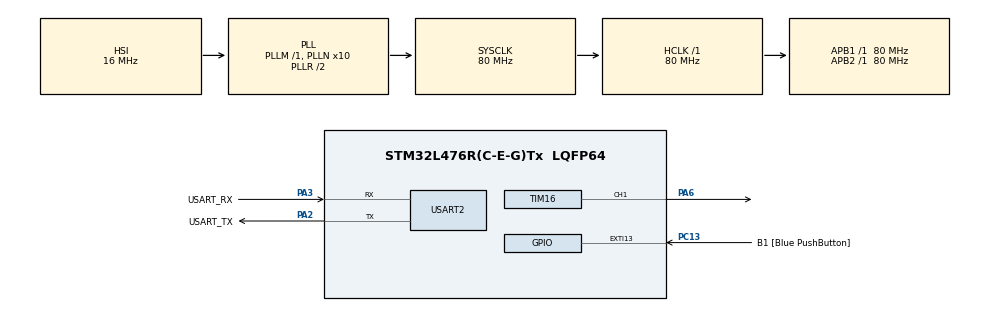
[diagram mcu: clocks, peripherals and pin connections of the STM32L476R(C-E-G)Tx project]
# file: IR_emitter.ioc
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Mcu.Family=STM32L4
Mcu.Name=STM32L476R(C-E-G)Tx
Mcu.Package=LQFP64
NVIC.PriorityGroup=NVIC_PRIORITYGROUP_4
PA13\ (JTMS-SWDIO).GPIO_Label=TMS
PA13\ (JTMS-SWDIO).Mode=Serial_Wire
PA13\ (JTMS-SWDIO).Signal=SYS_JTMS-SWDIO
PA14\ (JTCK-SWCLK).GPIO_Label=TCK
PA14\ (JTCK-SWCLK).Mode=Serial_Wire
PA14\ (JTCK-SWCLK).Signal=SYS_JTCK-SWCLK
PA2.GPIO_Label=USART_TX
PA2.GPIO_Mode=GPIO_MODE_AF_PP
PA2.GPIO_PuPd=GPIO_NOPULL
PA2.GPIO_Speed=GPIO_SPEED_FREQ_VERY_HIGH
PA2.Mode=Asynchronous
PA2.Signal=USART2_TX
PA3.GPIO_Label=USART_RX
PA3.GPIO_Mode=GPIO_MODE_AF_PP
PA3.GPIO_PuPd=GPIO_NOPULL
PA3.GPIO_Speed=GPIO_SPEED_FREQ_VERY_HIGH
PA3.Mode=Asynchronous
PA3.Signal=USART2_RX
PA5.GPIO_PuPd=GPIO_NOPULL
PA5.Signal=S_TIM2_CH1
PA6.Signal=S_TIM16_CH1
PB3\ (JTDO-TRACESWO).GPIO_Label=SWO
PB3\ (JTDO-TRACESWO).Signal=SYS_JTDO-SWO
PC13.GPIO_Label=B1 [Blue PushButton]
PC13.GPIO_ModeDefaultEXTI=GPIO_MODE_IT_FALLING
PC13.GPIO_PuPd=GPIO_NOPULL
PC13.Signal=GPXTI13
PC14-OSC32_IN\ (PC14).Mode=LSE-External-Oscillator
PC14-OSC32_IN\ (PC14).Signal=RCC_OSC32_IN
PC15-OSC32_OUT\ (PC15).Mode=LSE-External-Oscillator
PC15-OSC32_OUT\ (PC15).Signal=RCC_OSC32_OUT
PH0-OSC_IN\ (PH0).Signal=RCC_OSC_IN
PH1-OSC_OUT\ (PH1).Signal=RCC_OSC_OUT
ProjectManager.HeapSize=0x200
ProjectManager.StackSize=0x400
ProjectManager.TargetToolchain=STM32CubeIDE
RCC.ADCFreq_Value=64000000
RCC.AHBFreq_Value=80000000
RCC.APB1Freq_Value=80000000
RCC.APB1TimFreq_Value=80000000
RCC.APB2Freq_Value=80000000
RCC.APB2TimFreq_Value=80000000
RCC.CortexFreq_Value=80000000
RCC.HCLKFreq_Value=80000000
RCC.HSE_VALUE=8000000
RCC.HSI_VALUE=16000000
RCC.MSI_VALUE=4000000
RCC.PLLN=10
RCC.PLLSourceVirtual=RCC_PLLSOURCE_HSI
RCC.PREFETCH_ENABLE=1
RCC.SYSCLKFreq_VALUE=80000000
RCC.SYSCLKSource=RCC_SYSCLKSOURCE_PLLCLK
RCC.USBFreq_Value=64000000
RCC.VCOOutputFreq_Value=160000000
SH.S_TIM16_CH1.0=TIM16_CH1,PWM Generation1 CH1
SH.S_TIM2_CH1.0=TIM2_CH1
TIM16.Channel=TIM_CHANNEL_1
TIM16.Period=2000-1
TIM16.Prescaler=1-1
TIM5.Prescaler=80-1
USART2.VirtualMode-Asynchronous=VM_ASYNC
VP_TIM16_VS_ClockSourceINT.Mode=Enable_Timer
VP_TIM5_VS_ClockSourceINT.Mode=Internal
board=NUCLEO-L476RG

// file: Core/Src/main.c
/* USER CODE BEGIN Header */
/**
  ******************************************************************************
  * @file           : main.c
  * @brief          : Main program body
  ******************************************************************************
  * @attention
  *
  * Copyright (c) 2024 STMicroelectronics.
  * All rights reserved.
  *
  * This software is licensed under terms that can be found in the LICENSE file
  * in the root directory of this software component.
  * If no LICENSE file comes with this software, it is provided AS-IS.
  *
  ******************************************************************************
  */
/* USER CODE END Header */
#include "main.h"

/* USER CODE BEGIN Includes */
#include <stdio.h>
#include <stdlib.h>
#include "stm32l4xx.h"
/* USER CODE END Includes */

/* USER CODE BEGIN PD */
#ifdef __GNUC__
#define PUTCHAR_PROTOTYPE int __io_putchar(int ch)
#define GETCHAR_PROTOTYPE int __io_getchar(void)
#else
#define PUTCHAR_PROTOTYPE int fputc(int ch, FILE *f)
#define GETCHAR_PROTOTYPE int fgetc(FILE *f)
#endif

/* USER CODE END PD */

TIM_HandleTypeDef htim5;
TIM_HandleTypeDef htim16;

UART_HandleTypeDef huart2;

void SystemClock_Config(void);
static void MX_GPIO_Init(void);
static void MX_USART2_UART_Init(void);
static void MX_TIM16_Init(void);
static void MX_TIM5_Init(void);
/* USER CODE BEGIN PFP */
PUTCHAR_PROTOTYPE
{
  HAL_UART_Transmit(&huart2, (uint8_t *)&ch, 1, HAL_MAX_DELAY);
  return ch;
}
/* USER CODE END PFP */

/* USER CODE BEGIN 0 */
uint32_t last_capture = 0;
uint32_t period_length = 0;
float period[500];

void HAL_TIM_IC_CaptureCallback(TIM_HandleTypeDef *htim) {

    if (htim->Channel == HAL_TIM_ACTIVE_CHANNEL_1) {
        uint32_t capture_value = HAL_TIM_ReadCapturedValue(htim, TIM_CHANNEL_1);

        float pulse_duration = (float)(capture_value-last_capture)/1000;

        last_capture = capture_value;

        if (pulse_duration>1000){
        	period_length = 0;
        }
        else {
        	period[period_length]=pulse_duration;
        	period_length+=1;
        }

    }
}

void delayMicroseconds(int delay){
	int startingValue = TIM5->CNT;
	int readValue = startingValue;
	while(readValue-startingValue<delay){
		readValue =TIM5->CNT;
	}
}

void sendBit1() {
    // Start PWM for 1200 µs for logic "1" pulse
    HAL_TIM_PWM_Start(&htim16, TIM_CHANNEL_1);
    delayMicroseconds(1200);

    // Stop PWM to represent "off" period of 600 µs
    HAL_TIM_PWM_Stop(&htim16, TIM_CHANNEL_1);
    delayMicroseconds(600);
}

void sendBit0() {
    // Start PWM for 600 µs for logic "0" pulse
    HAL_TIM_PWM_Start(&htim16, TIM_CHANNEL_1);
    delayMicroseconds(600);  // Custom microsecond delay function

    // Stop PWM to represent "off" period of 600 µs
    HAL_TIM_PWM_Stop(&htim16, TIM_CHANNEL_1);
    delayMicroseconds(600);  // Same low duration as the pulse for "0"
}

void sendSIRCSData(uint32_t data) {

	// Start pulse
    HAL_TIM_PWM_Start(&htim16, TIM_CHANNEL_1);
    delayMicroseconds(2400);  // 2.4 ms "on" for start pulse
    HAL_TIM_PWM_Stop(&htim16, TIM_CHANNEL_1);
    delayMicroseconds(600);  // 0.6 ms "off" period

    // Transmit 32 bits of data
    for (int i = 0; i < 20; i++) {

        if (data & (1UL << (19 - i))) {

            sendBit1();

        } else {

            sendBit0();

        }
    }

}

/* USER CODE END 0 */

int main(void)
{

  /* MCU Configuration--------------------------------------------------------*/

  /* Reset of all peripherals, Initializes the Flash interface and the Systick. */
  HAL_Init();

  /* Configure the system clock */
  SystemClock_Config();

  /* Initialize all configured peripherals */
  MX_GPIO_Init();
  MX_USART2_UART_Init();
  MX_TIM16_Init();
  MX_TIM5_Init();
  /* USER CODE BEGIN 2 */
  printf("\n\n\r Starting\n\n\r");

  __HAL_TIM_SET_COUNTER(&htim5, 0);  // Reset the counter to 0
  HAL_TIM_Base_Start(&htim5);

  HAL_TIM_Base_Start(&htim16);
  TIM16->CCR1 = 1052;
  HAL_TIM_PWM_Start(&htim16, TIM_CHANNEL_1);

  uint32_t data = 0b10110100101110001111;
  for (int i = 0; i<3; i++){
	  sendSIRCSData(data);
  }

  /* USER CODE END 2 */

  /* Infinite loop */
  while (1)
  {

  }
}

void SystemClock_Config(void)
{
  RCC_OscInitTypeDef RCC_OscInitStruct = {0};
  RCC_ClkInitTypeDef RCC_ClkInitStruct = {0};

  /** Configure the main internal regulator output voltage
  */
  if (HAL_PWREx_ControlVoltageScaling(PWR_REGULATOR_VOLTAGE_SCALE1) != HAL_OK)
  {
    Error_Handler();
  }

  /** Initializes the RCC Oscillators according to the specified parameters
  * in the RCC_OscInitTypeDef structure.
  */
  RCC_OscInitStruct.OscillatorType = RCC_OSCILLATORTYPE_HSI;
  RCC_OscInitStruct.HSIState = RCC_HSI_ON;
  RCC_OscInitStruct.HSICalibrationValue = RCC_HSICALIBRATION_DEFAULT;
  RCC_OscInitStruct.PLL.PLLState = RCC_PLL_ON;
  RCC_OscInitStruct.PLL.PLLSource = RCC_PLLSOURCE_HSI;
  RCC_OscInitStruct.PLL.PLLM = 1;
  RCC_OscInitStruct.PLL.PLLN = 10;
  RCC_OscInitStruct.PLL.PLLP = RCC_PLLP_DIV7;
  RCC_OscInitStruct.PLL.PLLQ = RCC_PLLQ_DIV2;
  RCC_OscInitStruct.PLL.PLLR = RCC_PLLR_DIV2;
  if (HAL_RCC_OscConfig(&RCC_OscInitStruct) != HAL_OK)
  {
    Error_Handler();
  }

  /** Initializes the CPU, AHB and APB buses clocks
  */
  RCC_ClkInitStruct.ClockType = RCC_CLOCKTYPE_HCLK|RCC_CLOCKTYPE_SYSCLK
                              |RCC_CLOCKTYPE_PCLK1|RCC_CLOCKTYPE_PCLK2;
  RCC_ClkInitStruct.SYSCLKSource = RCC_SYSCLKSOURCE_PLLCLK;
  RCC_ClkInitStruct.AHBCLKDivider = RCC_SYSCLK_DIV1;
  RCC_ClkInitStruct.APB1CLKDivider = RCC_HCLK_DIV1;
  RCC_ClkInitStruct.APB2CLKDivider = RCC_HCLK_DIV1;

  if (HAL_RCC_ClockConfig(&RCC_ClkInitStruct, FLASH_LATENCY_4) != HAL_OK)
  {
    Error_Handler();
  }
}

static void MX_TIM5_Init(void)
{

  TIM_ClockConfigTypeDef sClockSourceConfig = {0};
  TIM_MasterConfigTypeDef sMasterConfig = {0};

  htim5.Instance = TIM5;
  htim5.Init.Prescaler = 80-1;
  htim5.Init.CounterMode = TIM_COUNTERMODE_UP;
  htim5.Init.Period = 4294967295;
  htim5.Init.ClockDivision = TIM_CLOCKDIVISION_DIV1;
  htim5.Init.AutoReloadPreload = TIM_AUTORELOAD_PRELOAD_DISABLE;
  if (HAL_TIM_Base_Init(&htim5) != HAL_OK)
  {
    Error_Handler();
  }
  sClockSourceConfig.ClockSource = TIM_CLOCKSOURCE_INTERNAL;
  if (HAL_TIM_ConfigClockSource(&htim5, &sClockSourceConfig) != HAL_OK)
  {
    Error_Handler();
  }
  sMasterConfig.MasterOutputTrigger = TIM_TRGO_RESET;
  sMasterConfig.MasterSlaveMode = TIM_MASTERSLAVEMODE_DISABLE;
  if (HAL_TIMEx_MasterConfigSynchronization(&htim5, &sMasterConfig) != HAL_OK)
  {
    Error_Handler();
  }

}

static void MX_TIM16_Init(void)
{

  TIM_OC_InitTypeDef sConfigOC = {0};
  TIM_BreakDeadTimeConfigTypeDef sBreakDeadTimeConfig = {0};

  htim16.Instance = TIM16;
  htim16.Init.Prescaler = 1-1;
  htim16.Init.CounterMode = TIM_COUNTERMODE_UP;
  htim16.Init.Period = 2000-1;
  htim16.Init.ClockDivision = TIM_CLOCKDIVISION_DIV1;
  htim16.Init.RepetitionCounter = 0;
  htim16.Init.AutoReloadPreload = TIM_AUTORELOAD_PRELOAD_DISABLE;
  if (HAL_TIM_Base_Init(&htim16) != HAL_OK)
  {
    Error_Handler();
  }
  if (HAL_TIM_PWM_Init(&htim16) != HAL_OK)
  {
    Error_Handler();
  }
  sConfigOC.OCMode = TIM_OCMODE_PWM1;
  sConfigOC.Pulse = 0;
  sConfigOC.OCPolarity = TIM_OCPOLARITY_HIGH;
  sConfigOC.OCNPolarity = TIM_OCNPOLARITY_HIGH;
  sConfigOC.OCFastMode = TIM_OCFAST_DISABLE;
  sConfigOC.OCIdleState = TIM_OCIDLESTATE_RESET;
  sConfigOC.OCNIdleState = TIM_OCNIDLESTATE_RESET;
  if (HAL_TIM_PWM_ConfigChannel(&htim16, &sConfigOC, TIM_CHANNEL_1) != HAL_OK)
  {
    Error_Handler();
  }
  sBreakDeadTimeConfig.OffStateRunMode = TIM_OSSR_DISABLE;
  sBreakDeadTimeConfig.OffStateIDLEMode = TIM_OSSI_DISABLE;
  sBreakDeadTimeConfig.LockLevel = TIM_LOCKLEVEL_OFF;
  sBreakDeadTimeConfig.DeadTime = 0;
  sBreakDeadTimeConfig.BreakState = TIM_BREAK_DISABLE;
  sBreakDeadTimeConfig.BreakPolarity = TIM_BREAKPOLARITY_HIGH;
  sBreakDeadTimeConfig.AutomaticOutput = TIM_AUTOMATICOUTPUT_DISABLE;
  if (HAL_TIMEx_ConfigBreakDeadTime(&htim16, &sBreakDeadTimeConfig) != HAL_OK)
  {
    Error_Handler();
  }
  HAL_TIM_MspPostInit(&htim16);

}

static void MX_USART2_UART_Init(void)
{

  huart2.Instance = USART2;
  huart2.Init.BaudRate = 115200;
  huart2.Init.WordLength = UART_WORDLENGTH_8B;
  huart2.Init.StopBits = UART_STOPBITS_1;
  huart2.Init.Parity = UART_PARITY_NONE;
  huart2.Init.Mode = UART_MODE_TX_RX;
  huart2.Init.HwFlowCtl = UART_HWCONTROL_NONE;
  huart2.Init.OverSampling = UART_OVERSAMPLING_16;
  huart2.Init.OneBitSampling = UART_ONE_BIT_SAMPLE_DISABLE;
  huart2.AdvancedInit.AdvFeatureInit = UART_ADVFEATURE_NO_INIT;
  if (HAL_UART_Init(&huart2) != HAL_OK)
  {
    Error_Handler();
  }

}

static void MX_GPIO_Init(void)
{
  GPIO_InitTypeDef GPIO_InitStruct = {0};

  /* GPIO Ports Clock Enable */
  __HAL_RCC_GPIOC_CLK_ENABLE();
  __HAL_RCC_GPIOH_CLK_ENABLE();
  __HAL_RCC_GPIOA_CLK_ENABLE();
  __HAL_RCC_GPIOB_CLK_ENABLE();

  /*Configure GPIO pin : B1_Pin */
  GPIO_InitStruct.Pin = B1_Pin;
  GPIO_InitStruct.Mode = GPIO_MODE_IT_FALLING;
  GPIO_InitStruct.Pull = GPIO_NOPULL;
  HAL_GPIO_Init(B1_GPIO_Port, &GPIO_InitStruct);

  /*Configure GPIO pin : PA5 */
  GPIO_InitStruct.Pin = GPIO_PIN_5;
  GPIO_InitStruct.Mode = GPIO_MODE_AF_PP;
  GPIO_InitStruct.Pull = GPIO_NOPULL;
  GPIO_InitStruct.Speed = GPIO_SPEED_FREQ_LOW;
  GPIO_InitStruct.Alternate = GPIO_AF1_TIM2;
  HAL_GPIO_Init(GPIOA, &GPIO_InitStruct);

}

void Error_Handler(void)
{
  __disable_irq();
  while (1)
  {
  }
}
